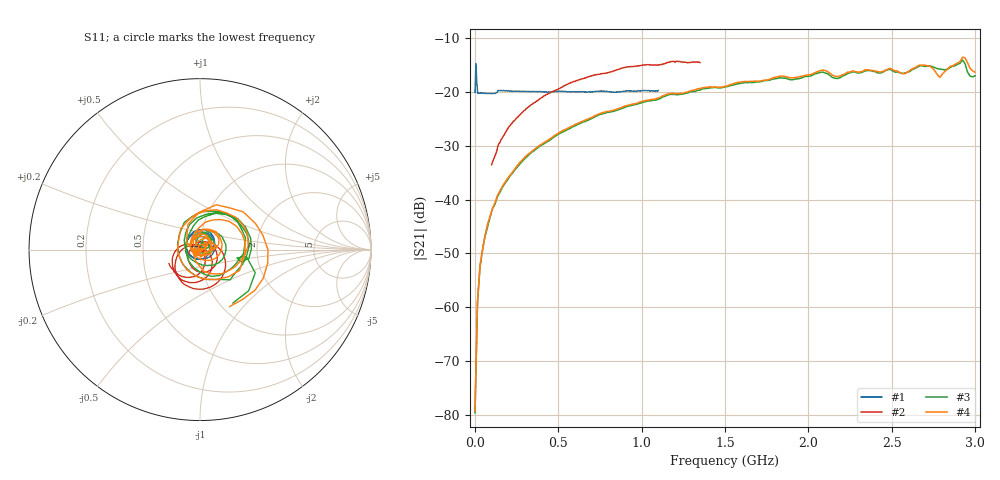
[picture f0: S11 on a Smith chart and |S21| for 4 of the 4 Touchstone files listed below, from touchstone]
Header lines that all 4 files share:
!File created by NanoVNA-F V2
# Hz S RI R 50
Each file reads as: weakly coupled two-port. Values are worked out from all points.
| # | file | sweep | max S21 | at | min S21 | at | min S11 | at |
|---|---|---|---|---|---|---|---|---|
| 1 | 8340-200-sn3284.s2p | 50 kHz to 1.1 GHz | -14.70 dB | 5.55 MHz | -20.3 dB | 104.5 MHz | -53.8 dB | 50 kHz |
| 2 | eme1296.s2p | 100 MHz to 1.35 GHz | -14.24 dB | 1.206 GHz | -33.5 dB | 100 MHz | -42.0 dB | 300 MHz |
| 3 | eme2320-f.s2p | 50 kHz to 3 GHz | -14.00 dB | 2.925 GHz | -79.7 dB | 50 kHz | -49.4 dB | 15.05 MHz |
| 4 | eme2320-r.s2p | 50 kHz to 3 GHz | -13.50 dB | 2.925 GHz | -79.3 dB | 50 kHz | -50.3 dB | 1.32 GHz |
